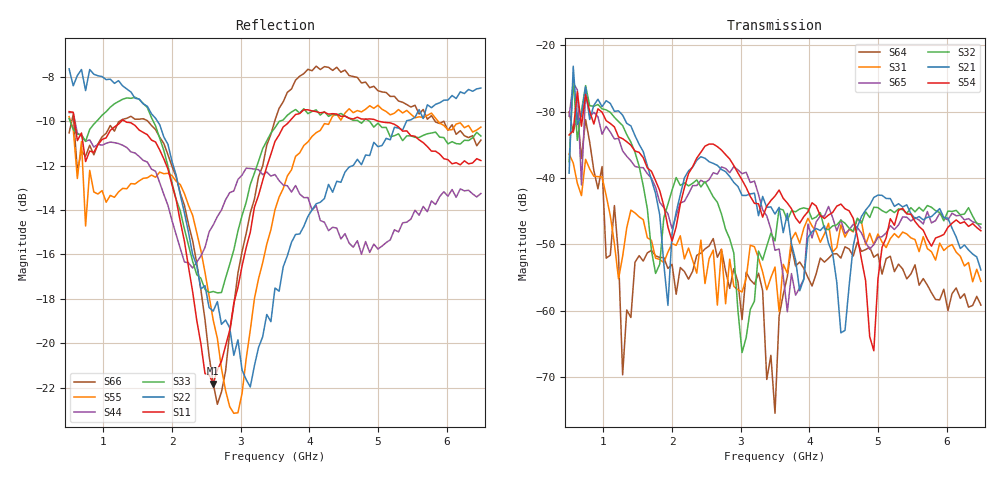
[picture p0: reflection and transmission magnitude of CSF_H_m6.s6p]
!Keysight Technologies,M9804A,MY58100912,A.14.10.03
!Date: Thursday, April 27, 2023 10:28:33
!Correction: S11(C  6-Port  )
!S12(C  6-Port  )
!S13(C  6-Port  )
!S14(C  6-Port  )
!S15(C  6-Port  )
!S16(C  6-Port  )
!S21(C  6-Port  )
!S22(C  6-Port  )
!S23(C  6-Port  )
!S24(C  6-Port  )
!S25(C  6-Port  )
!S26(C  6-Port  )
!S31(C  6-Port  )
!S32(C  6-Port  )
!S33(C  6-Port  )
!S34(C  6-Port  )
!S35(C  6-Port  )
!S36(C  6-Port  )
!S41(C  6-Port  )
!S42(C  6-Port  )
!S43(C  6-Port  )
!S44(C  6-Port  )
!S45(C  6-Port  )
!S46(C  6-Port  )
!S51(C  6-Port  )
!S52(C  6-Port  )
!S53(C  6-Port  )
!S54(C  6-Port  )
!S55(C  6-Port  )
!S56(C  6-Port  )
!S61(C  6-Port  )
!S62(C  6-Port  )
!S63(C  6-Port  )
!S64(C  6-Port  )
!S65(C  6-Port  )
!S66(C  6-Port  )
!S6P File: Measurement: :
# Hz S  RI  R 50
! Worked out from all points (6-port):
!   101 points, 500 MHz to 6.5 GHz, reference 50 ohm
!   strongest paths, dB at 500 MHz, 2 GHz, 3.5 GHz, 5 GHz, 6.5 GHz:
!     S54: -33.5, -49.5, -42.7, -55.3, -48.0
!     S21: -39.3, -48.3, -45.4, -42.6, -53.9
!     S32: -37.5, -41.8, -49.5, -44.5, -47.0
!     S65: -30.7, -47.6, -50.9, -49.0, -47.5
!     S31: -36.4, -49.9, -53.4, -48.4, -55.6
!     S64: -30.0, -53.0, -75.5, -51.5, -59.2
!   lowest |S11| = -21.8 dB at 2.6 GHz (marker M1), VSWR 1.18, Z = 42.7 + j1.97 ohm
!   |S11| at or under -10 dB: 579 MHz to 1.26 GHz (681.4 MHz wide, 74.1 % of centre); 1.316 GHz to 3.711 GHz (2.396 GHz wide, 95.3 % of centre); 5.013 GHz to end of sweep
